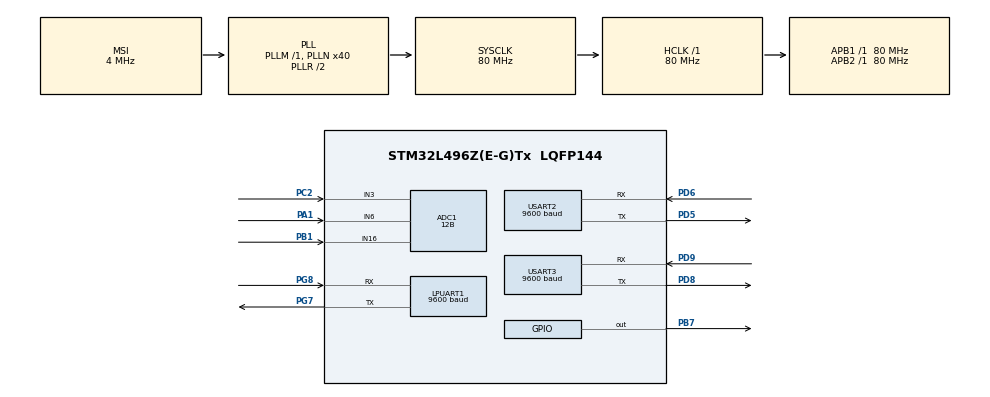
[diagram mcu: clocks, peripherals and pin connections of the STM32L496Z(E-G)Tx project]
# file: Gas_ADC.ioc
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ADC1.Channel-1\#ChannelRegularConversion=ADC_CHANNEL_3
ADC1.Channel-2\#ChannelRegularConversion=ADC_CHANNEL_6
ADC1.Channel-3\#ChannelRegularConversion=ADC_CHANNEL_16
ADC1.ExternalTrigConv=ADC_EXTERNALTRIG_T8_TRGO
ADC1.NbrOfConversion=3
ADC1.NbrOfConversionFlag=1
ADC1.OffsetNumber-1\#ChannelRegularConversion=ADC_OFFSET_NONE
ADC1.OffsetNumber-2\#ChannelRegularConversion=ADC_OFFSET_NONE
ADC1.OffsetNumber-3\#ChannelRegularConversion=ADC_OFFSET_NONE
ADC1.Rank-1\#ChannelRegularConversion=1
ADC1.Rank-2\#ChannelRegularConversion=2
ADC1.Rank-3\#ChannelRegularConversion=3
ADC1.Resolution=ADC_RESOLUTION_12B
ADC1.SamplingTime-1\#ChannelRegularConversion=ADC_SAMPLETIME_247CYCLES_5
ADC1.SamplingTime-2\#ChannelRegularConversion=ADC_SAMPLETIME_247CYCLES_5
ADC1.SamplingTime-3\#ChannelRegularConversion=ADC_SAMPLETIME_247CYCLES_5
ADC1.master=1
Dma.ADC1.0.Direction=DMA_PERIPH_TO_MEMORY
Dma.ADC1.0.Instance=DMA1_Channel1
Dma.ADC1.0.MemDataAlignment=DMA_MDATAALIGN_WORD
Dma.ADC1.0.MemInc=DMA_MINC_ENABLE
Dma.ADC1.0.Mode=DMA_CIRCULAR
Dma.ADC1.0.PeriphDataAlignment=DMA_PDATAALIGN_WORD
Dma.ADC1.0.PeriphInc=DMA_PINC_DISABLE
Dma.ADC1.0.Priority=DMA_PRIORITY_LOW
Dma.Request0=ADC1
LPUART1.BaudRate=9600
LPUART1.WordLength=UART_WORDLENGTH_8B
Mcu.Family=STM32L4
Mcu.Name=STM32L496Z(E-G)Tx
Mcu.Package=LQFP144
NVIC.DMA1_Channel1_IRQn=true\:0\:0\:false\:false\:true\:false\:true\:true
NVIC.LPUART1_IRQn=true\:0\:0\:false\:false\:true\:true\:true\:true
NVIC.PriorityGroup=NVIC_PRIORITYGROUP_4
NVIC.TIM8_BRK_IRQn=true\:0\:0\:false\:false\:true\:true\:true\:true
NVIC.TIM8_CC_IRQn=true\:0\:0\:false\:false\:true\:true\:true\:true
NVIC.TIM8_TRG_COM_IRQn=true\:0\:0\:false\:false\:true\:true\:true\:true
NVIC.TIM8_UP_IRQn=true\:0\:0\:false\:false\:true\:true\:true\:true
NVIC.USART2_IRQn=true\:0\:0\:false\:false\:true\:true\:true\:true
NVIC.USART3_IRQn=true\:0\:0\:false\:false\:true\:true\:true\:true
PA1.Signal=ADCx_IN6
PA13\ (JTMS/SWDIO).Mode=Serial_Wire
PA13\ (JTMS/SWDIO).Signal=SYS_JTMS-SWDIO
PA14\ (JTCK/SWCLK).Mode=Serial_Wire
PA14\ (JTCK/SWCLK).Signal=SYS_JTCK-SWCLK
PB1.Signal=ADCx_IN16
PB7.Signal=GPIO_Output
PC14-OSC32_IN\ (PC14).Mode=LSE-External-Oscillator
PC14-OSC32_IN\ (PC14).Signal=RCC_OSC32_IN
PC15-OSC32_OUT\ (PC15).Mode=LSE-External-Oscillator
PC15-OSC32_OUT\ (PC15).Signal=RCC_OSC32_OUT
PC2.Signal=ADCx_IN3
PD5.Mode=Asynchronous
PD5.Signal=USART2_TX
PD6.Mode=Asynchronous
PD6.Signal=USART2_RX
PD8.Mode=Asynchronous
PD8.Signal=USART3_TX
PD9.Mode=Asynchronous
PD9.Signal=USART3_RX
PG7.Mode=Asynchronous
PG7.Signal=LPUART1_TX
PG8.Mode=Asynchronous
PG8.Signal=LPUART1_RX
PH0-OSC_IN\ (PH0).Mode=HSE-External-Oscillator
PH0-OSC_IN\ (PH0).Signal=RCC_OSC_IN
PH1-OSC_OUT\ (PH1).Mode=HSE-External-Oscillator
PH1-OSC_OUT\ (PH1).Signal=RCC_OSC_OUT
ProjectManager.HeapSize=0x200
ProjectManager.StackSize=0x400
ProjectManager.TargetToolchain=EWARM V8
RCC.ADCFreq_Value=32000000
RCC.AHBFreq_Value=80000000
RCC.APB1Freq_Value=80000000
RCC.APB1TimFreq_Value=80000000
RCC.APB2Freq_Value=80000000
RCC.APB2TimFreq_Value=80000000
RCC.CortexFreq_Value=80000000
RCC.HCLKFreq_Value=80000000
RCC.HSE_VALUE=8000000
RCC.HSI48_VALUE=48000000
RCC.HSI_VALUE=16000000
RCC.LPUART1CLockSelection=RCC_LPUART1CLKSOURCE_HSI
RCC.MSI_VALUE=4000000
RCC.PLLN=40
RCC.PLLSAI1N=16
RCC.SYSCLKFreq_VALUE=80000000
RCC.SYSCLKSource=RCC_SYSCLKSOURCE_PLLCLK
RCC.USBFreq_Value=32000000
RCC.VCOOutputFreq_Value=160000000
SH.ADCx_IN16.0=ADC1_IN16,IN16-Single-Ended
SH.ADCx_IN3.0=ADC1_IN3,IN3-Single-Ended
SH.ADCx_IN6.0=ADC1_IN6,IN6-Single-Ended
TIM8.Period=5000
TIM8.Prescaler=10
TIM8.TIM_MasterOutputTrigger=TIM_TRGO_UPDATE
TIM8.TIM_MasterOutputTrigger2=TIM_TRGO2_UPDATE
USART2.BaudRate=9600
USART2.VirtualMode-Asynchronous=VM_ASYNC
USART3.BaudRate=9600
USART3.VirtualMode-Asynchronous=VM_ASYNC
VP_TIM8_VS_ClockSourceINT.Mode=Internal
board=custom

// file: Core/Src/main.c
/* USER CODE BEGIN Header */
/**
  ******************************************************************************
  * @file           : main.c
  * @brief          : Main program body
  ******************************************************************************
  * @attention
  *
  * Copyright (c) 2023 STMicroelectronics.
  * All rights reserved.
  *
  * This software is licensed under terms that can be found in the LICENSE file
  * in the root directory of this software component.
  * If no LICENSE file comes with this software, it is provided AS-IS.
  *
  ******************************************************************************
  */
/* USER CODE END Header */
#include "main.h"
#include "adc.h"
#include "dma.h"
#include "usart.h"
#include "tim.h"
#include "gpio.h"

/* USER CODE BEGIN Includes */
#include <stdio.h>
#include <string.h>

/* USER CODE END Includes */

/* USER CODE BEGIN PD */
#define N 32
uint16_t cnt = 0;
uint32_t adc_buff[3*N];
uint32_t adc_output[3];

__IO ITStatus UartReady = RESET;
uint16_t tmp0;
uint8_t tmp1;
uint8_t tmp2;
uint8_t tmp3;
uint8_t tmp4;
uint8_t tmp5;
uint8_t tmp6;
uint16_t tmp7;

char status_machine;
//char *g="sendme";
char *g="cls BLACK";
char *h="page page2";
char *k="n0.val=";
char *m="add 1,1,80";    //white line
char *mn="add 1,1,";     //real time data
char *o="add 1,2,107";   //red line
char *n="add 1,3,57";    //green line
char *hide_t_label_cmd="vis t8,0";
char *hide_t_unit_cmd="vis t9,0";
uint8_t end[3]={0xff,0xff,0xff};
uint8_t data[4];
char wave_cmd[24];
char hr_cmd[24];
uint8_t hmi_tx2_status;
uint8_t hmi_tx3_status;
uint16_t hmi_ref_cnt;
uint32_t ecg_baseline_mv;
uint16_t ecg_threshold_mv;
uint32_t last_r_peak_tick;
uint32_t last_hr_send_tick;
uint16_t heart_rate_bpm;
uint8_t r_peak_ready = 1;

/* Buffer used for transmission */
uint8_t aTxBuffer[32];
/* Buffer used for reception */
uint8_t aRxBuffer[20]="";

uint32_t rxcnt;
uint8_t rx1byte[32];
uint8_t rx2byte[32];
uint8_t rx3byte[32];
uint8_t tx1byte[8];
uint8_t tx2byte[8];
uint8_t tx3byte[8];
/* USER CODE END PD */

void SystemClock_Config(void);

int main(void)
{
  /* USER CODE BEGIN 1 */
  int adc_buff1[3];
  status_machine = 0xA5;
  /* USER CODE END 1 */

  /* MCU Configuration--------------------------------------------------------*/

  /* Reset of all peripherals, Initializes the Flash interface and the Systick. */
  HAL_Init();

  /* Configure the system clock */
  SystemClock_Config();

  /* USER CODE BEGIN SysInit */
  HAL_Delay(1000);  //waiting for pannel launching about 3s
  HAL_Delay(1000);
  HAL_Delay(1000);
  /* USER CODE END SysInit */

  /* Initialize all configured peripherals */
  MX_GPIO_Init();
  MX_DMA_Init();
  MX_LPUART1_UART_Init();
  MX_ADC1_Init();
  MX_TIM8_Init();
  MX_USART2_UART_Init();
  MX_USART3_UART_Init();

  SPI_DAC_InitDAC();
  /* USER CODE BEGIN 2 */
  HAL_Delay(1);
  HAL_ADCEx_Calibration_Start(&hadc1, ADC_SINGLE_ENDED);
  HAL_TIM_Base_Start(&htim8);
  HAL_Delay(1);
  HAL_GPIO_WritePin(GPIOB,GPIO_PIN_7,GPIO_PIN_SET);  //LED1 INIT
  HAL_GPIO_WritePin(GPIOB,GPIO_PIN_14,GPIO_PIN_SET);  //LED2 INIT
  HAL_GPIO_WritePin(GPIOE, GPIO_PIN_4, GPIO_PIN_SET);  //RELAY INIT
  HAL_Delay(10);

  HAL_UART_Receive_IT(&huart2,(uint8_t*)aRxBuffer,5);
  HAL_UART_Transmit(&huart2,end,3,100);
  HAL_UART_Transmit(&huart2,g,strlen(g),100);
  HAL_UART_Transmit(&huart2,end,3,100);
  HAL_UART_Transmit(&huart2,end,3,100);
  HAL_UART_Transmit(&huart2,h,strlen(h),100);
  HAL_UART_Transmit(&huart2,end,3,100);
  HAL_Delay(20);
  HAL_UART_Transmit(&huart2,hide_t_label_cmd,strlen(hide_t_label_cmd),100);
  HAL_UART_Transmit(&huart2,end,3,100);
  HAL_UART_Transmit(&huart2,hide_t_unit_cmd,strlen(hide_t_unit_cmd),100);
  HAL_UART_Transmit(&huart2,end,3,100);

  /* USER CODE END 2 */

  /* Infinite loop */
  while (1)
  {

    /* USER CODE BEGIN 3 */

    if (HAL_GPIO_ReadPin(GPIOC, GPIO_PIN_13) == GPIO_PIN_SET)
    {
       HAL_Delay(10);  //��������
       if (HAL_GPIO_ReadPin(GPIOC, GPIO_PIN_13) == GPIO_PIN_SET)
       {
         status_machine = ~(status_machine);

       }
    }
    if(status_machine == 0x5A)
    {
      HAL_GPIO_WritePin(GPIOE, GPIO_PIN_4, GPIO_PIN_RESET);
    }
    else
    {
      HAL_GPIO_WritePin(GPIOE, GPIO_PIN_4, GPIO_PIN_SET);
    }

    adc_buff1[0] = 0;
    adc_buff1[1] = 0;
    adc_buff1[2] = 0;
    HAL_ADC_Start_DMA(&hadc1,(uint32_t*)adc_buff,3*N);
    for (int i = 0;i < N; ++i)  // N == 32
    {
      adc_buff1[0] += adc_buff[3 * i];
      adc_buff1[1] += adc_buff[3 * i + 1];
      adc_buff1[2] += adc_buff[3 * i + 2];
    }

    HAL_GPIO_WritePin(GPIOB,GPIO_PIN_7,GPIO_PIN_SET);
    HAL_GPIO_WritePin(GPIOB,GPIO_PIN_14,GPIO_PIN_RESET);

    adc_output[0] = adc_buff1[0] * 3300 / (4096 * N);
    adc_output[1] = adc_buff1[1] * 3300 / (4096 * N);  //0-3300
    //adc_output[2] = adc_buff1[2] * 3.3 / 4096 / N;
    adc_output[2] = adc_buff1[2] * 3300 / (4096 * N);

    printf("%lu,%lu\r\n", HAL_GetTick(), adc_output[2]);

    if (ecg_baseline_mv == 0)
    {
      ecg_baseline_mv = adc_output[2];
    }
    else
    {
      ecg_baseline_mv = (ecg_baseline_mv * 31 + adc_output[2]) / 32;
    }
    ecg_threshold_mv = ecg_baseline_mv + 35;

    uint32_t now_tick = HAL_GetTick();
    if (r_peak_ready && adc_output[2] > ecg_threshold_mv && (now_tick - last_r_peak_tick) > 400)
    {
      if (last_r_peak_tick != 0)
      {
        uint32_t rr_ms = now_tick - last_r_peak_tick;
        if (rr_ms >= 400 && rr_ms <= 1500)
        {
          heart_rate_bpm = 60000 / rr_ms;
        }
      }
      last_r_peak_tick = now_tick;
      r_peak_ready = 0;
    }
    else if (adc_output[2] < ecg_baseline_mv + 15)
    {
      r_peak_ready = 1;
    }

    tmp0 = adc_output[2]%1000;
    tmp1 = adc_output[2]/1000+0x30;
    tmp2 = tmp0%100;
    tmp3 = tmp0/100+0x30;  //��λ��
    tmp4 = tmp2%10;
    tmp5 = tmp2/10+0x30;  //ʮλ��
    tmp6 = tmp4+0x30;  //��λ��

    if (adc_output[2] <= 1500)
    {
      tmp7 = 0;
    }
    else if (adc_output[2] >= 2000)
    {
      tmp7 = 150;
    }
    else
    {
      tmp7 = (adc_output[2] - 1500) * 150 / 500;
    }
    sprintf(wave_cmd, "add 1,0,%d", tmp7);

    //transfer data to pannel
    data[0] = tmp1;
    data[1] = tmp3;
    data[2] = tmp5;
    hmi_tx2_status = HAL_UART_Transmit(&huart2,(uint8_t*)wave_cmd,strlen(wave_cmd),100);
    HAL_UART_Transmit(&huart2,end,3,100);

    if ((now_tick - last_hr_send_tick) >= 500)
    {
      last_hr_send_tick = now_tick;
      sprintf(hr_cmd, "n0.val=%d", heart_rate_bpm);
      HAL_UART_Transmit(&huart2,(uint8_t*)hr_cmd,strlen(hr_cmd),100);
      HAL_UART_Transmit(&huart2,end,3,100);
    }

    HAL_GPIO_WritePin(GPIOB,GPIO_PIN_7,GPIO_PIN_RESET);
    HAL_GPIO_WritePin(GPIOB,GPIO_PIN_14,GPIO_PIN_SET);
    HAL_Delay(2);

  }
  /* USER CODE END 3 */
}

void SystemClock_Config(void)
{
  RCC_OscInitTypeDef RCC_OscInitStruct = {0};
  RCC_ClkInitTypeDef RCC_ClkInitStruct = {0};

  /** Configure the main internal regulator output voltage
  */
  if (HAL_PWREx_ControlVoltageScaling(PWR_REGULATOR_VOLTAGE_SCALE1) != HAL_OK)
  {
    Error_Handler();
  }

  /** Initializes the RCC Oscillators according to the specified parameters
  * in the RCC_OscInitTypeDef structure.
  */
  RCC_OscInitStruct.OscillatorType = RCC_OSCILLATORTYPE_HSI|RCC_OSCILLATORTYPE_MSI;
  RCC_OscInitStruct.HSIState = RCC_HSI_ON;
  RCC_OscInitStruct.HSICalibrationValue = RCC_HSICALIBRATION_DEFAULT;
  RCC_OscInitStruct.MSIState = RCC_MSI_ON;
  RCC_OscInitStruct.MSICalibrationValue = 0;
  RCC_OscInitStruct.MSIClockRange = RCC_MSIRANGE_6;
  RCC_OscInitStruct.PLL.PLLState = RCC_PLL_ON;
  RCC_OscInitStruct.PLL.PLLSource = RCC_PLLSOURCE_MSI;
  RCC_OscInitStruct.PLL.PLLM = 1;
  RCC_OscInitStruct.PLL.PLLN = 40;
  RCC_OscInitStruct.PLL.PLLP = RCC_PLLP_DIV2;
  RCC_OscInitStruct.PLL.PLLQ = RCC_PLLQ_DIV2;
  RCC_OscInitStruct.PLL.PLLR = RCC_PLLR_DIV2;
  if (HAL_RCC_OscConfig(&RCC_OscInitStruct) != HAL_OK)
  {
    Error_Handler();
  }

  /** Initializes the CPU, AHB and APB buses clocks
  */
  RCC_ClkInitStruct.ClockType = RCC_CLOCKTYPE_HCLK|RCC_CLOCKTYPE_SYSCLK
                              |RCC_CLOCKTYPE_PCLK1|RCC_CLOCKTYPE_PCLK2;
  RCC_ClkInitStruct.SYSCLKSource = RCC_SYSCLKSOURCE_PLLCLK;
  RCC_ClkInitStruct.AHBCLKDivider = RCC_SYSCLK_DIV1;
  RCC_ClkInitStruct.APB1CLKDivider = RCC_HCLK_DIV1;
  RCC_ClkInitStruct.APB2CLKDivider = RCC_HCLK_DIV1;

  if (HAL_RCC_ClockConfig(&RCC_ClkInitStruct, FLASH_LATENCY_4) != HAL_OK)
  {
    Error_Handler();
  }
}

/* USER CODE BEGIN 4 */

/*
void HAL_TIM_PeriodElapsedCallback(TIM_HandleTypeDef *htim)
{
    if (htim->Instance == htim8.Instance)
    {
        HAL_ADC_Start_DMA(&hadc1,(uint32_t*)adcbuff,3);
        if (adcbuff[0] > 1 || (adcbuff[1] > 1 || adcbuff[2] > 1))
        {
            trigger_flag = 1;
        }
    }

}
 */

/**
  * @brief  Tx Transfer completed callback
  * @param  UartHandle: UART handle.
  * @note   This example shows a simple way to report end of IT Tx transfer, and
  *         you can add your own implementation.
  * @retval None
  */
void HAL_UART_TxCpltCallback(UART_HandleTypeDef *UartHandle)
{
  /* Set transmission flag: transfer complete*/
  UartReady = SET;
}

void HMISends(char *buf)
{
    uint8_t i=0;
    while(1)
    {
      if (buf[i]!=0)
      {
        HAL_UART_Transmit_IT(&huart2, (uint8_t *)&buf, 0x1);
        HAL_Delay(2);
        i++;
      }
      else
      {
        return ;
      }
    }
}

/**
  * @brief  Rx Transfer completed callback
  * @param  UartHandle: UART handle
  * @note   This example shows a simple way to report end of IT Rx transfer, and
  *         you can add your own implementation.
  * @retval None
  */
void HAL_UART_RxCpltCallback(UART_HandleTypeDef *huart)
{
	aRxBuffer[rxcnt] = rx1byte[0];     //��������ת��������
	rxcnt=rxcnt+1;

	if (aRxBuffer[rxcnt-1] == 0xFF  && aRxBuffer[rxcnt-4] == 0x0a)  //�жϽ������ݵ�֡ͷ֡β
	{
		//HAL_GPIO_TogglePin(GPIOC,GPIO_PIN_13);
        //printf("show_trans.n1.val=%d\xff\xff\xff",aRxBuffer[rx_cnt-3]+aRxBuffer[rx_cnt-2]*256);
		//���յ������ݷ��ͻش�����
		rxcnt =0;
	}
	 HAL_UART_Receive_IT(&hlpuart1, (uint8_t *)&rx1byte, 1);//�ٿ����ж�
}

void SPI_DAC_Init(void)
{
  GPIO_InitTypeDef GPIO_InitStruct;

  /* Configure SPI1 pins: SCK, and MOSI */
  GPIO_InitStruct.Pin = GPIO_PIN_7 | GPIO_PIN_5;  //PA7 - SPI_DATA;PA5 - SPI_CLK
  GPIO_InitStruct.Mode = GPIO_MODE_OUTPUT_PP;
  GPIO_InitStruct.Pull = GPIO_NOPULL;
  GPIO_InitStruct.Speed = GPIO_SPEED_FREQ_LOW;
  HAL_GPIO_Init(GPIOA, &GPIO_InitStruct);

  /* Configure PD14 Chip select��CS */
  GPIO_InitStruct.Pin = GPIO_PIN_14;
  GPIO_InitStruct.Mode = GPIO_MODE_OUTPUT_PP;
  GPIO_InitStruct.Pull = GPIO_NOPULL;
  GPIO_InitStruct.Speed = GPIO_SPEED_FREQ_LOW;
  HAL_GPIO_Init(GPIOD, &GPIO_InitStruct);
}

void SPI_DAC_data_send(unsigned char Passage, unsigned int data)
{
  unsigned char i, mode;

  HAL_GPIO_WritePin(GPIOD,DAC1_SYNC,GPIO_PIN_SET); //DAC1_SYNC = 1;
  HAL_GPIO_WritePin(GPIOA,DAC_SCLK,GPIO_PIN_RESET);  //DAC_SCLK = 0;
  HAL_Delay(1);

  switch(Passage)
  {
    case(0x0):
      {
        mode = 0x18;
        HAL_GPIO_WritePin(GPIOD,DAC1_SYNC,GPIO_PIN_SET); //DAC1_SYNC = 1;
        HAL_Delay(1);
        HAL_GPIO_WritePin(GPIOD,DAC1_SYNC,GPIO_PIN_RESET); //DAC1_SYNC = 0;
        HAL_Delay(1);
      }
      break;
    case(0x1):
      {
        mode = 0x19;
        HAL_GPIO_WritePin(GPIOD,DAC1_SYNC,GPIO_PIN_SET); //DAC1_SYNC = 1;
        HAL_Delay(1);
        HAL_GPIO_WritePin(GPIOD,DAC1_SYNC,GPIO_PIN_RESET); //DAC1_SYNC = 0;
        HAL_Delay(1);
      }
      break;
    default:
      break;
  }

//8bits command and address, 24bits data in frame totally.
  for(i = 0; i < 8; i++)
  {
    if(mode & 0x80)
    {
      HAL_GPIO_WritePin(GPIOA,DAC_DIN,GPIO_PIN_SET); //DAC_DIN = 1;
    }
    else
    {
      HAL_GPIO_WritePin(GPIOA,DAC_DIN,GPIO_PIN_RESET);  //DAC_DIN = 0;
    }
    HAL_Delay(1);
    HAL_GPIO_WritePin(GPIOA,DAC_SCLK,GPIO_PIN_SET);  //DAC_SCLK = 1;
    HAL_Delay(1);
    mode <<= 1;
    HAL_Delay(1);
    HAL_GPIO_WritePin(GPIOA,DAC_SCLK,GPIO_PIN_RESET);  //DAC_SCLK = 0;
    HAL_Delay(1);
  }

//to transfer 16bits data
  for(i = 0; i < 16; i++)
  {
    if(data & 0x8000)
    {
       HAL_GPIO_WritePin(GPIOA,DAC_DIN,GPIO_PIN_SET); //DAC_DIN = 1;
    }
    else
    {
       HAL_GPIO_WritePin(GPIOA,DAC_DIN,GPIO_PIN_RESET);  //DAC_DIN = 0;
    }
    HAL_Delay(1);
    HAL_GPIO_WritePin(GPIOA,DAC_SCLK,GPIO_PIN_SET);  //DAC_SCLK = 1;
    HAL_Delay(1);
    data <<= 1;
    HAL_Delay(1);
    HAL_GPIO_WritePin(GPIOA,DAC_SCLK,GPIO_PIN_RESET);  //DAC_SCLK = 0;
    HAL_Delay(1);
  }
    HAL_GPIO_WritePin(GPIOD,DAC1_SYNC,GPIO_PIN_SET); //DAC1_SYNC = 1;
}

void SPI_DAC_command_send(unsigned char Passage, unsigned char  mode_in, unsigned int data)
{
  unsigned char i, mode;

  mode = mode_in;
  HAL_GPIO_WritePin(GPIOD,DAC1_SYNC,GPIO_PIN_SET);     //DAC1_SYNC = 1;
  HAL_GPIO_WritePin(GPIOA,DAC_SCLK,GPIO_PIN_RESET);   //DAC_SCLK = 0;
  HAL_Delay(1);

  switch(Passage)
  {
    case(0x0):
      {
        HAL_GPIO_WritePin(GPIOD,DAC1_SYNC,GPIO_PIN_SET);     //DAC1_SYNC = 1;
        HAL_Delay(1);
        HAL_GPIO_WritePin(GPIOD,DAC1_SYNC,GPIO_PIN_RESET);    //DAC1_SYNC = 0;
        HAL_Delay(1);
      }
      break;
    case(0x1):
      {
        HAL_GPIO_WritePin(GPIOD,DAC1_SYNC,GPIO_PIN_SET);       //DAC1_SYNC = 1;
        HAL_Delay(1);
        HAL_GPIO_WritePin(GPIOD,DAC1_SYNC,GPIO_PIN_RESET);      //DAC1_SYNC = 0;
        HAL_Delay(1);
      }
      break;
    default:
      break;
  }

//8bits command and address, 24bits data in frame totally.
  for(i = 0; i < 8; i++)
  {
    if(mode & 0x80)
    {
      HAL_GPIO_WritePin(GPIOA,DAC_DIN,GPIO_PIN_SET);   //DAC_DIN = 1;
    }
    else
    {
      HAL_GPIO_WritePin(GPIOA,DAC_DIN,GPIO_PIN_RESET);  //DAC_DIN = 0;
    }
    HAL_Delay(1);
    HAL_GPIO_WritePin(GPIOA,DAC_SCLK,GPIO_PIN_SET);    //DAC_SCLK = 1;
    HAL_Delay(1);
    mode <<= 1;
    HAL_Delay(1);
     HAL_GPIO_WritePin(GPIOA,DAC_SCLK,GPIO_PIN_RESET);   //DAC_SCLK = 0;
    HAL_Delay(1);
  }

//to transfer 16bits data
  for(i = 0; i < 16; i++)
  {
    if(data & 0x8000)
    {
       HAL_GPIO_WritePin(GPIOA,DAC_DIN,GPIO_PIN_SET);   //DAC_DIN = 1;
    }
    else
    {
       HAL_GPIO_WritePin(GPIOA,DAC_DIN,GPIO_PIN_RESET);   //DAC_DIN = 0;
    }
    HAL_Delay(1);
    HAL_GPIO_WritePin(GPIOA,DAC_SCLK,GPIO_PIN_SET);    //DAC_SCLK = 1;
    HAL_Delay(1);
    data <<= 1;
    HAL_Delay(1);
    HAL_GPIO_WritePin(GPIOA,DAC_SCLK,GPIO_PIN_RESET);    //DAC_SCLK = 0;
    HAL_Delay(1);
  }
    HAL_GPIO_WritePin(GPIOD,DAC1_SYNC,GPIO_PIN_SET);       //DAC1_SYNC = 1;
}

void SPI_DAC_AccInit_Val(void)
{
  //double Val = 0.15*18;
  uint16_t Val = 0.4*20;
  uint16_t ValTmp = 0;

  Val = (0x20)*65530/50;
  ValTmp = Val;

  if(Val-ValTmp>=0.5)//avoid 65536
  {
    ValTmp = Val+1;
  }
  SPI_DAC_data_send(DACPassageA, ValTmp);
  SPI_DAC_data_send(DACPassageB, ValTmp);
}

//DAC8162 REGISTERs Configuration
void SPI_DAC_reg_init(void)
{
  SPI_DAC_command_send(0, 0x3f, 1); ///Enable internal reference
  SPI_DAC_command_send(1, 0x3f, 1);

  SPI_DAC_command_send(0, 0x20, 3); //Power up
  SPI_DAC_command_send(1, 0x20, 3);

  SPI_DAC_command_send(0, 0x30, 3);
  SPI_DAC_command_send(1, 0x30, 3);

  SPI_DAC_AccInit_Val();  //��ʼ��DA���ֵ
}

void SPI_DAC_InitDAC(void)
{
  SPI_DAC_Init( );
  SPI_DAC_reg_init();
  //SPI_DAC_data_send(DACPassageB,0);  //0ͨ���������0
}

void SPI_DAC_Acc_Val(unsigned char Passage, double Val)
{
  double ValTmp;
  Val = Val*65530/5;
  ValTmp = Val;

  if(Val-ValTmp>=0.5)//avoid 65536
  {
     ValTmp = Val+1;
  }
  switch(Passage)
  {
    case(0x0):
      SPI_DAC_data_send(DACPassageB,ValTmp);
      break;
    case(0x1):
      SPI_DAC_data_send(DACPassageA,ValTmp);
      break;
    default:
      break;
  }
}

/* USER CODE END 4 */

void Error_Handler(void)
{
  __disable_irq();
  while (1)
  {
  }
}
